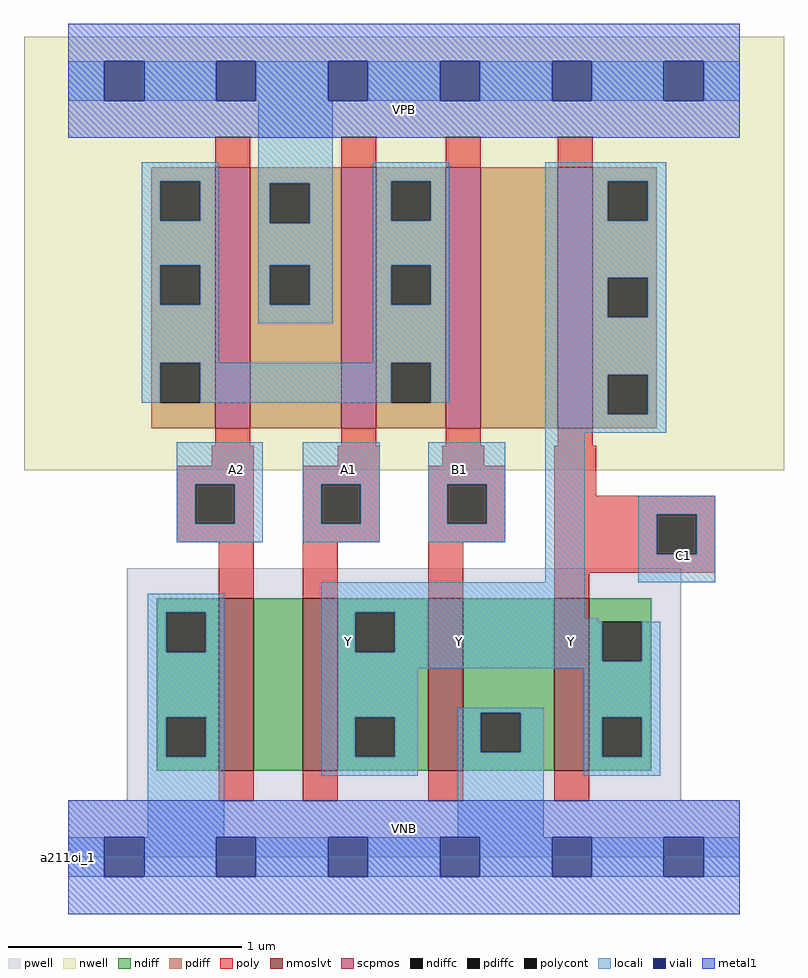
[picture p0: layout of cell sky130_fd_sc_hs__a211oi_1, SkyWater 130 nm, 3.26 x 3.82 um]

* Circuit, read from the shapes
.subckt sky130_fd_sc_hs__a211oi_1 A1 A2 B1 C1 VGND VNB VPB VPWR Y
XM1 n1 A2 VGND VNB sky130_fd_pr__nfet_01v8_lvt w=0.74 l=0.15
XM2 Y A1 n1 VNB sky130_fd_pr__nfet_01v8_lvt w=0.74 l=0.15
XM3 VGND B1 Y VNB sky130_fd_pr__nfet_01v8_lvt w=0.74 l=0.15
XM4 Y C1 VGND VNB sky130_fd_pr__nfet_01v8_lvt w=0.74 l=0.15
XM5 VPWR A2 n2 VPB sky130_fd_pr__pfet_01v8 w=1.12 l=0.15
XM6 n2 A1 VPWR VPB sky130_fd_pr__pfet_01v8 w=1.12 l=0.15
XM7 n3 B1 n2 VPB sky130_fd_pr__pfet_01v8 w=1.12 l=0.15
XM8 Y C1 n3 VPB sky130_fd_pr__pfet_01v8 w=1.12 l=0.15
.ends

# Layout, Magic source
magic
tech sky130A
magscale 1 2
<< nwell >>
rect -38 332 614 704
<< pwell >>
rect 50 49 526 248
rect 0 0 576 49
<< scpmos >>
rect 126 368 156 592
rect 234 368 264 592
rect 324 368 354 592
rect 420 368 450 592
<< nmoslvt >>
rect 129 74 159 222
rect 201 74 231 222
rect 309 74 339 222
rect 417 74 447 222
<< ndiff >>
rect 76 210 129 222
rect 76 176 84 210
rect 118 176 129 210
rect 76 120 129 176
rect 76 86 84 120
rect 118 86 129 120
rect 76 74 129 86
rect 159 74 201 222
rect 231 210 309 222
rect 231 176 246 210
rect 280 176 309 210
rect 231 120 309 176
rect 231 86 246 120
rect 280 86 309 120
rect 231 74 309 86
rect 339 124 417 222
rect 339 90 354 124
rect 388 90 417 124
rect 339 74 417 90
rect 447 202 500 222
rect 447 168 458 202
rect 492 168 500 202
rect 447 120 500 168
rect 447 86 458 120
rect 492 86 500 120
rect 447 74 500 86
<< pdiff >>
rect 71 580 126 592
rect 71 546 79 580
rect 113 546 126 580
rect 71 508 126 546
rect 71 474 79 508
rect 113 474 126 508
rect 71 424 126 474
rect 71 390 79 424
rect 113 390 126 424
rect 71 368 126 390
rect 156 578 234 592
rect 156 544 173 578
rect 207 544 234 578
rect 156 508 234 544
rect 156 474 173 508
rect 207 474 234 508
rect 156 368 234 474
rect 264 580 324 592
rect 264 546 277 580
rect 311 546 324 580
rect 264 508 324 546
rect 264 474 277 508
rect 311 474 324 508
rect 264 424 324 474
rect 264 390 277 424
rect 311 390 324 424
rect 264 368 324 390
rect 354 368 420 592
rect 450 580 505 592
rect 450 546 463 580
rect 497 546 505 580
rect 450 497 505 546
rect 450 463 463 497
rect 497 463 505 497
rect 450 414 505 463
rect 450 380 463 414
rect 497 380 505 414
rect 450 368 505 380
<< ndiffc >>
rect 84 176 118 210
rect 84 86 118 120
rect 246 176 280 210
rect 246 86 280 120
rect 354 90 388 124
rect 458 168 492 202
rect 458 86 492 120
<< pdiffc >>
rect 79 546 113 580
rect 79 474 113 508
rect 79 390 113 424
rect 173 544 207 578
rect 173 474 207 508
rect 277 546 311 580
rect 277 474 311 508
rect 277 390 311 424
rect 463 546 497 580
rect 463 463 497 497
rect 463 380 497 414
<< poly >>
rect 126 592 156 618
rect 234 592 264 618
rect 324 592 354 618
rect 420 592 450 618
rect 126 353 156 368
rect 234 353 264 368
rect 324 353 354 368
rect 420 353 450 368
rect 123 336 159 353
rect 231 336 267 353
rect 321 336 357 353
rect 93 320 159 336
rect 93 286 109 320
rect 143 286 159 320
rect 93 270 159 286
rect 129 222 159 270
rect 201 320 267 336
rect 201 286 217 320
rect 251 286 267 320
rect 201 270 267 286
rect 309 320 375 336
rect 309 286 325 320
rect 359 286 375 320
rect 309 270 375 286
rect 417 310 453 353
rect 417 294 555 310
rect 201 222 231 270
rect 309 222 339 270
rect 417 260 505 294
rect 539 260 555 294
rect 417 244 555 260
rect 417 222 447 244
rect 129 48 159 74
rect 201 48 231 74
rect 309 48 339 74
rect 417 48 447 74
<< polycont >>
rect 109 286 143 320
rect 217 286 251 320
rect 325 286 359 320
rect 505 260 539 294
<< locali >>
rect 0 649 31 683
rect 65 649 127 683
rect 161 649 223 683
rect 257 649 319 683
rect 353 649 415 683
rect 449 649 511 683
rect 545 649 576 683
rect 63 580 129 596
rect 63 546 79 580
rect 113 546 129 580
rect 63 508 129 546
rect 63 474 79 508
rect 113 474 129 508
rect 63 424 129 474
rect 163 578 227 649
rect 163 544 173 578
rect 207 544 227 578
rect 163 508 227 544
rect 163 474 173 508
rect 207 474 227 508
rect 163 458 227 474
rect 261 580 327 596
rect 261 546 277 580
rect 311 546 327 580
rect 261 508 327 546
rect 261 474 277 508
rect 311 474 327 508
rect 261 424 327 474
rect 63 390 79 424
rect 113 390 277 424
rect 311 390 327 424
rect 409 580 513 596
rect 409 546 463 580
rect 497 546 513 580
rect 409 497 513 546
rect 409 463 463 497
rect 497 463 513 497
rect 409 414 513 463
rect 409 380 463 414
rect 497 380 513 414
rect 409 364 513 380
rect 93 320 167 356
rect 93 286 109 320
rect 143 286 167 320
rect 93 270 167 286
rect 201 320 267 356
rect 201 286 217 320
rect 251 286 267 320
rect 201 270 267 286
rect 309 320 375 356
rect 309 286 325 320
rect 359 286 375 320
rect 309 270 375 286
rect 409 236 443 364
rect 489 294 555 310
rect 489 260 505 294
rect 539 260 555 294
rect 489 236 555 260
rect 68 210 134 226
rect 68 176 84 210
rect 118 176 134 210
rect 68 120 134 176
rect 68 86 84 120
rect 118 86 134 120
rect 68 17 134 86
rect 217 210 443 236
rect 217 176 246 210
rect 280 205 443 210
rect 280 202 455 205
rect 280 176 458 202
rect 217 168 458 176
rect 492 168 508 202
rect 217 162 508 168
rect 217 120 300 162
rect 217 86 246 120
rect 280 86 300 120
rect 217 70 300 86
rect 334 124 408 128
rect 334 90 354 124
rect 388 90 408 124
rect 334 17 408 90
rect 442 120 508 162
rect 442 86 458 120
rect 492 86 508 120
rect 442 70 508 86
rect 0 -17 31 17
rect 65 -17 127 17
rect 161 -17 223 17
rect 257 -17 319 17
rect 353 -17 415 17
rect 449 -17 511 17
rect 545 -17 576 17
<< viali >>
rect 31 649 65 683
rect 127 649 161 683
rect 223 649 257 683
rect 319 649 353 683
rect 415 649 449 683
rect 511 649 545 683
rect 31 -17 65 17
rect 127 -17 161 17
rect 223 -17 257 17
rect 319 -17 353 17
rect 415 -17 449 17
rect 511 -17 545 17
<< metal1 >>
rect 0 683 576 715
rect 0 649 31 683
rect 65 649 127 683
rect 161 649 223 683
rect 257 649 319 683
rect 353 649 415 683
rect 449 649 511 683
rect 545 649 576 683
rect 0 617 576 649
rect 0 17 576 49
rect 0 -17 31 17
rect 65 -17 127 17
rect 161 -17 223 17
rect 257 -17 319 17
rect 353 -17 415 17
rect 449 -17 511 17
rect 545 -17 576 17
rect 0 -49 576 -17
<< labels >>
rlabel comment s 0 0 0 0 4 a211oi_1
flabel pwell s 0 0 576 49 0 FreeSans 200 0 0 0 VNB
port 6 nsew ground bidirectional
flabel nwell s 0 617 576 666 0 FreeSans 200 0 0 0 VPB
port 7 nsew power bidirectional
flabel metal1 s 0 617 576 666 0 FreeSans 340 0 0 0 VPWR
port 8 nsew power bidirectional
flabel metal1 s 0 0 576 49 0 FreeSans 340 0 0 0 VGND
port 5 nsew ground bidirectional
flabel locali s 511 242 545 276 0 FreeSans 340 0 0 0 C1
port 4 nsew signal input
flabel locali s 223 168 257 202 0 FreeSans 340 0 0 0 Y
port 9 nsew signal output
flabel locali s 319 168 353 202 0 FreeSans 340 0 0 0 Y
port 9 nsew signal output
flabel locali s 415 168 449 202 0 FreeSans 340 0 0 0 Y
port 9 nsew signal output
flabel locali s 319 316 353 350 0 FreeSans 340 0 0 0 B1
port 3 nsew signal input
flabel locali s 127 316 161 350 0 FreeSans 340 0 0 0 A2
port 2 nsew signal input
flabel locali s 223 316 257 350 0 FreeSans 340 0 0 0 A1
port 1 nsew signal input
<< properties >>
string LEFsite unit
string LEFclass CORE
string FIXED_BBOX 0 0 576 666
string GDS_FILE $PDKPATH/libs.ref/sky130_fd_sc_hs/gds/sky130_fd_sc_hs.gds
string LEFsymmetry X Y
string GDS_END 123172
string GDS_START 117508
<< end >>
